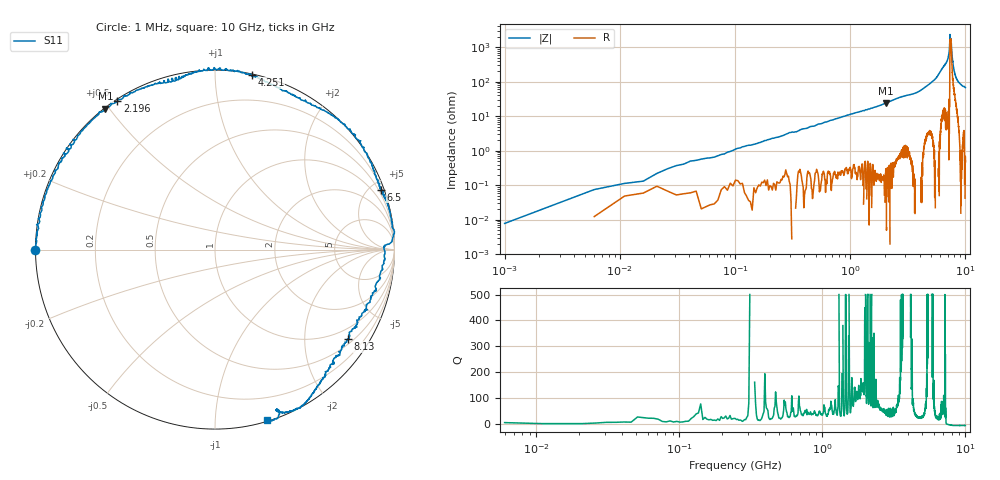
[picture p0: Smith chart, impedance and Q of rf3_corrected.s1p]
! Created with skrf 1.8.0 (http://scikit-rf.org).
# GHz S RI R 50.0
!freq ReS11 ImS11
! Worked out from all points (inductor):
!   2001 points, 1 MHz to 10 GHz, reference 50 ohm
!   read as one part to ground: L = 1.65 nH near 50.99 MHz
!   highest Q = 312 at 2.056 GHz (marker M1), where L = 1.89 nH
!   self-resonance near 7.464 GHz
!   S11 on the Smith chart (normalised r, x): 1 MHz: -0.00, +0.00; 2.196 GHz: 0.01, +0.54; 4.251 GHz: 0.01, +1.23; 6.5 GHz: 0.26, +5.71; 8.13 GHz: 0.64, -3.17; 10 GHz: 0.01, -1.35
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0.001  -1 0.000251
0.580942  -0.9587 0.2488
1.250875  -0.8455 0.5116
1.655835  -0.7498 0.6495
2.055795  -0.6106 0.7858
2.195781  -0.5448 0.8266
2.50075  -0.4082 0.8968
2.845715  -0.2827 0.9335
3.750625  -0.0393 1.011
4.250575  0.2036 0.9733
5.0005  0.5289 0.8158
5.40046  0.6771 0.7313
5.780422  0.8095 0.593
6.250375  0.8979 0.4051
6.50035  0.9263 0.3341
7.050295  0.9758 0.2099
7.290271  0.9987 0.0948
7.415259  0.9432 0.0153
7.50025  0.9463 -0.0205
7.730227  0.8936 -0.2018
8.130187  0.7419 -0.4975
8.405159  0.6444 -0.6394
8.750125  0.5539 -0.7867
9.175083  0.4621 -0.8851
9.535046  0.3594 -0.9036
9.720028  0.3437 -0.8901
9.815019  0.3555 -0.9222
10  0.292 -0.9487
